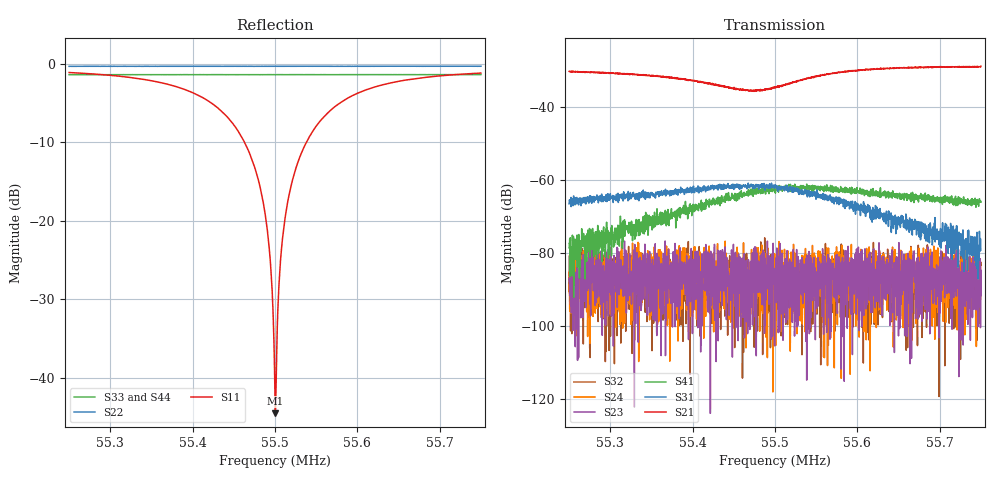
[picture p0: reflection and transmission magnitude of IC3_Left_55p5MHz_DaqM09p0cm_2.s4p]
#  HZ  S  DB  R  50.00
! Rohde & Schwarz Vector Network Analyzer
! Rohde-Schwarz,ZNB8-4Port,1311601044102961,2.82
! Created: UTC 2/13/2019, 9:52:41 AM
! freq[Hz]  db:S11  ang:S11  db:S12  ang:S12  db:S13  ang:S13  db:S14  ang:S14
!  db:S21  ang:S21  db:S22  ang:S22  db:S23  ang:S23  db:S24  ang:S24
!  db:S31  ang:S31  db:S32  ang:S32  db:S33  ang:S33  db:S34  ang:S34
!  db:S41  ang:S41  db:S42  ang:S42  db:S43  ang:S43  db:S44  ang:S44
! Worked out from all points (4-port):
!   2001 points, 55.25 MHz to 55.75 MHz, reference 50 ohm
!   strongest paths, dB at 55.25 MHz, 55.375 MHz, 55.5 MHz, 55.625 MHz, 55.75 MHz:
!     S21: -30.3, -31.9, -34.6, -29.7, -28.8
!     S31: -66.5, -63.2, -61.4, -69.8, -79.2
!     S41: -78.5, -70.5, -62.9, -63.5, -66.1
!     S23: -87.0, -91.5, -87.3, -92.1, -91.6
!     S24: -85.1, -91.1, -81.7, -82.6, -91.0
!     S32: -86.8, -95.7, -84.7, -83.4, -83.3
!   lowest |S11| = -44.5 dB at 55.5005 MHz (marker M1), VSWR 1.01, Z = 49.7 - j0.51 ohm
!   |S11| at or under -10 dB: 55.46303 MHz to 55.5381 MHz (75.07 kHz wide, 0.135 % of centre)
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5.525e7  -1.11 -129.5  -30.25 72.8  -65.70 -140.4  -85.85 29.6
         -30.26 73.4  -0.32 94.2  -86.98 9.0  -85.13 -18.9
         -66.48 -146.6  -86.80 98.9  -1.39 34.9  -94.64 93.6
         -78.54 -4.5  -89.38 120.8  -84.34 159.6  -1.38 28.5
5.54515e7  -7.99 176.6  -34.90 72.2  -61.05 169.7  -64.73 -28.8
           -34.91 72.0  -0.31 90.5  -91.17 98.4  -82.11 150.2
           -61.71 168.1  -89.35 -71.9  -1.38 32.5  -102.10 81.1
           -64.69 -33.2  -88.79 179.9  -87.11 115.2  -1.37 26.0
5.548625e7  -18.00 159.3  -35.27 89.8  -62.05 149.4  -62.47 -44.8
            -35.36 88.9  -0.32 89.9  -83.42 -29.1  -79.48 121.6
            -61.70 153.5  -97.89 -75.9  -1.38 32.1  -92.85 -176.3
            -62.75 -49.7  -100.56 -20.0  -86.97 -31.4  -1.37 25.6
5.55005e7  -44.50 -120.6  -34.46 95.7  -62.47 141.8  -62.38 -57.2
           -34.74 95.7  -0.32 89.6  -88.71 -150.1  -83.35 172.2
           -61.65 142.4  -87.11 48.5  -1.38 31.9  -88.83 -143.3
           -63.58 -58.8  -82.46 147.3  -93.70 -65.4  -1.38 25.4
5.55145e7  -18.12 -42.5  -33.69 99.4  -62.84 133.3  -61.61 -61.5
           -33.78 99.2  -0.32 89.4  -82.92 3.5  -84.18 110.9
           -62.35 129.4  -88.43 1.2  -1.37 31.7  -97.53 -47.1
           -62.06 -65.5  -84.39 130.5  -84.08 70.8  -1.38 25.2
5.5549e7  -8.09 -59.8  -31.63 101.2  -64.29 121.8  -62.11 -82.1
          -31.68 101.1  -0.31 88.8  -103.65 -86.7  -92.91 109.2
          -63.98 115.8  -82.13 -167.9  -1.38 31.3  -85.69 121.7
          -61.97 -78.1  -85.71 -169.3  -99.79 -90.4  -1.37 24.8
5.575e7  -1.18 -113.7  -29.00 76.4  -85.44 122.0  -67.05 -132.9
         -28.85 76.4  -0.31 85.1  -91.61 -52.1  -91.01 159.8
         -79.15 105.2  -83.30 125.1  -1.37 29.0  -92.66 -26.3
         -66.05 -127.9  -89.67 113.1  -83.22 170.6  -1.37 22.4
